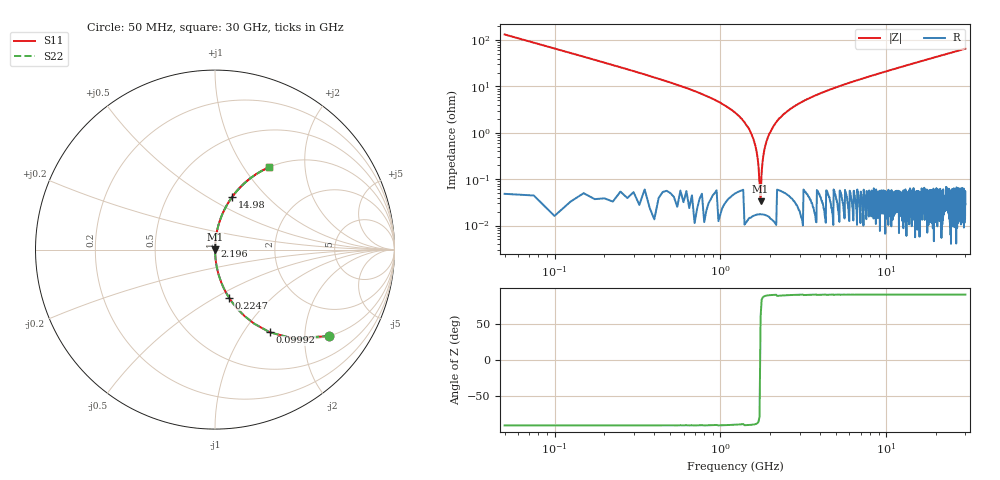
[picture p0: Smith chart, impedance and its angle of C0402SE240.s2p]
!	AVX Thin Film Operation 	Date: April 2014
!	Description: Accu-P® Series, Thin Film  SMD RF Capacitor
!	Part Number: 04023K240FBSTR
# MHZ S MA R 50
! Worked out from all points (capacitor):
!   1201 points, 50 MHz to 30 GHz, reference 50 ohm
!   read as one part in series: C = 24 pF near 199.8 MHz
!   lowest |Z| = 33.3 mohm at 1.747 GHz (marker M1)
!   series resonance near 1.741 GHz, so ESL is about 350 pH
!   S11 on the Smith chart (normalised r, x): 50 MHz: 1.00, -2.65; 99.92 MHz: 1.00, -1.32; 224.7 MHz: 1.00, -0.58; 2.196 GHz: 1.00, +0.04; 14.98 GHz: 1.00, +0.65; 30 GHz: 1.00, +1.31
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50  0.798 -37.0  0.602 53.0  0.602 53.0  0.798 -37.0
99.917  0.552 -56.5  0.834 33.5  0.834 33.5  0.552 -56.5
224.708  0.279 -73.8  0.96 16.2  0.96 16.2  0.279 -73.8
324.542  0.193 -78.7  0.981 11.2  0.981 11.2  0.193 -78.7
549.167  0.108 -83.6  0.994 6.2  0.994 6.2  0.108 -83.6
1347.833  0.02 -87.9  0.999 1.1  0.999 1.1  0.02 -87.9
1497.583  0.012 -87.6  1 0.7  1 0.7  0.012 -87.6
1647.333  0.004211 -85.0  1 0.2  1 0.2  0.004211 -85.0
1747.167  0.0004526 39.3  1 -0.0  1 -0.0  0.0004526 39.3
1847  0.004536 85.3  1 -0.3  1 -0.3  0.004536 85.3
1946.833  0.008554 87.2  1 -0.5  1 -0.5  0.008554 87.2
2021.708  0.011 87.6  1 -0.7  1 -0.7  0.011 87.6
2196.417  0.018 87.9  0.999 -1.0  0.999 -1.0  0.018 87.9
2545.833  0.03 87.6  0.999 -1.7  0.999 -1.7  0.03 87.6
3169.792  0.048 86.8  0.998 -2.8  0.998 -2.8  0.048 86.8
5041.667  0.097 84.2  0.995 -5.5  0.995 -5.5  0.097 84.2
10058.29  0.209 77.9  0.978 -12.1  0.978 -12.1  0.209 77.9
14975.08  0.308 72.0  0.951 -17.9  0.951 -17.9  0.308 72.0
15025  0.309 72.0  0.951 -18.0  0.951 -18.0  0.309 72.0
20016.67  0.399 66.5  0.917 -23.5  0.917 -23.5  0.399 66.5
25033.29  0.479 61.4  0.878 -28.6  0.878 -28.6  0.479 61.4
30000  0.547 56.8  0.837 -33.2  0.837 -33.2  0.547 56.8
